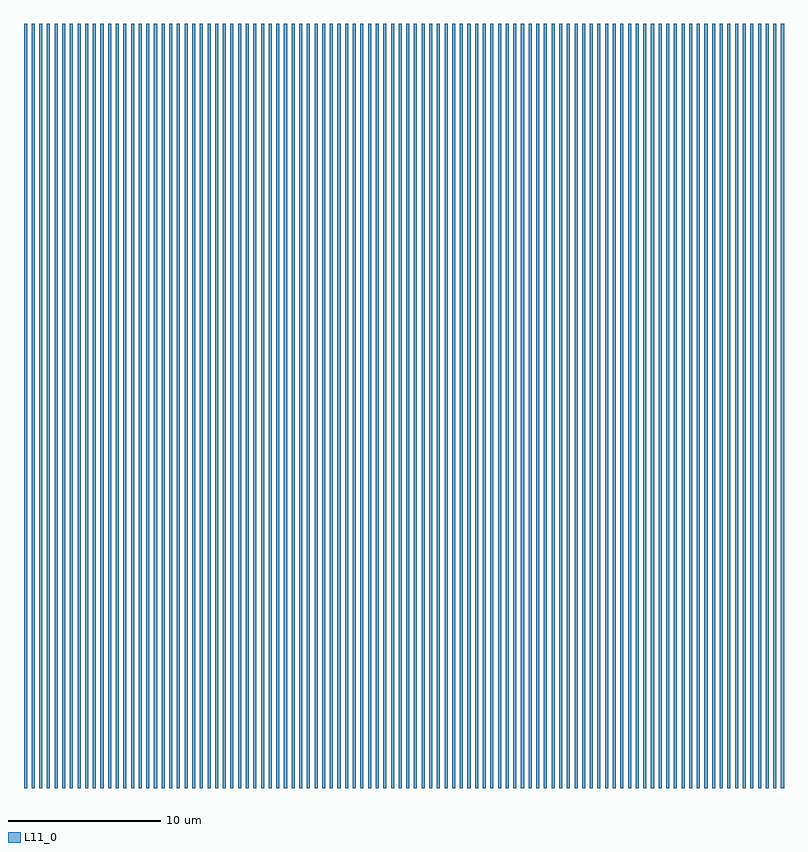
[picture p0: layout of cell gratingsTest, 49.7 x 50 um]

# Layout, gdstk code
import gdstk
lib = gdstk.Library(unit=1e-6, precision=1e-09)
def R(c, l, rs):  # rectangles x0, y0, x1, y1
    for r in rs: c.add(gdstk.rectangle(r[:2], r[2:], *l))
L11_0 = (11, 0)

c_200nmline = lib.new_cell('200nmLine')
R(c_200nmline, L11_0, [(0,0,0.2,50)])

gratingstest = lib.new_cell('gratingsTest')
r = gdstk.Reference(c_200nmline, (-10,20)); r.repetition = gdstk.Repetition(100, 1, v1=(0.5,0), v2=(0,1)); gratingstest.add(r)

lib.write_gds('gratingsTest.gds')
